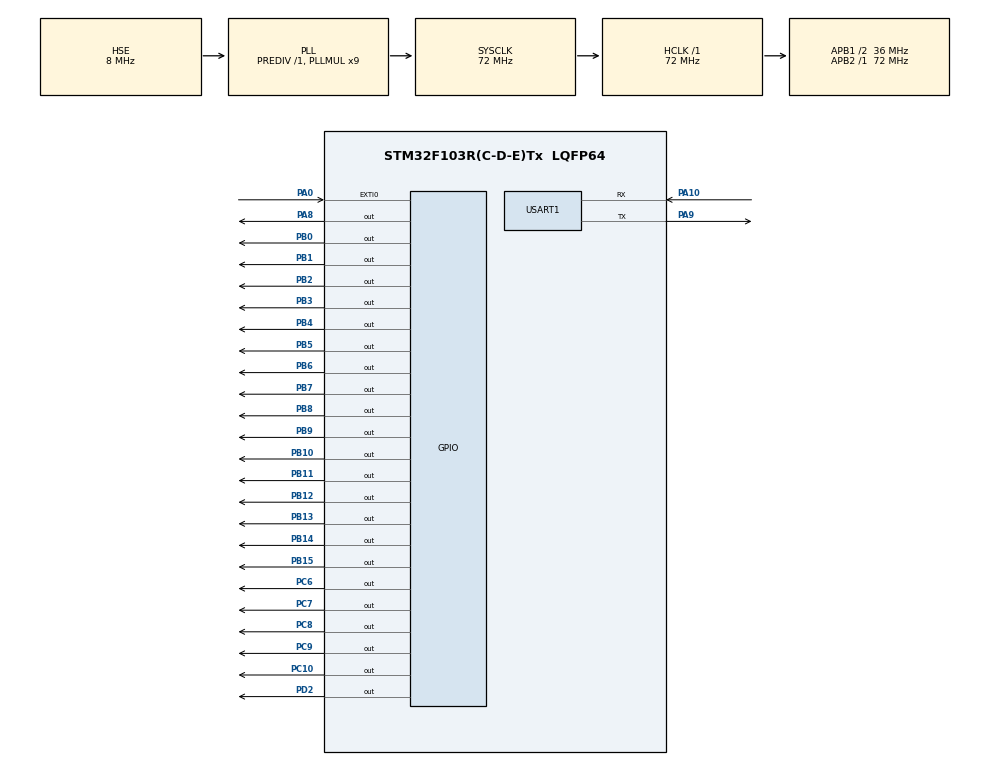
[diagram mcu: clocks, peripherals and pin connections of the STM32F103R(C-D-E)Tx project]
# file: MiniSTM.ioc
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Mcu.Family=STM32F1
Mcu.Name=STM32F103R(C-D-E)Tx
Mcu.Package=LQFP64
NVIC.EXTI0_IRQn=true\:8\:0\:true\:false\:true\:true\:true\:true
NVIC.PriorityGroup=NVIC_PRIORITYGROUP_4
PA0-WKUP.Signal=GPXTI0
PA10.Mode=Asynchronous
PA10.Signal=USART1_RX
PA13.Mode=Serial_Wire
PA13.Signal=SYS_JTMS-SWDIO
PA14.Mode=Serial_Wire
PA14.Signal=SYS_JTCK-SWCLK
PA8.GPIO_PuPd=GPIO_PULLUP
PA8.Signal=GPIO_Output
PA9.Mode=Asynchronous
PA9.Signal=USART1_TX
PB0.GPIO_PuPd=GPIO_PULLUP
PB0.GPIO_Speed=GPIO_SPEED_FREQ_HIGH
PB0.Signal=GPIO_Output
PB1.GPIO_PuPd=GPIO_PULLUP
PB1.GPIO_Speed=GPIO_SPEED_FREQ_HIGH
PB1.Signal=GPIO_Output
PB10.GPIO_PuPd=GPIO_PULLUP
PB10.GPIO_Speed=GPIO_SPEED_FREQ_HIGH
PB10.Signal=GPIO_Output
PB11.GPIO_PuPd=GPIO_PULLUP
PB11.GPIO_Speed=GPIO_SPEED_FREQ_HIGH
PB11.Signal=GPIO_Output
PB12.GPIO_PuPd=GPIO_PULLUP
PB12.GPIO_Speed=GPIO_SPEED_FREQ_HIGH
PB12.Signal=GPIO_Output
PB13.GPIO_PuPd=GPIO_PULLUP
PB13.GPIO_Speed=GPIO_SPEED_FREQ_HIGH
PB13.Signal=GPIO_Output
PB14.GPIO_PuPd=GPIO_PULLUP
PB14.GPIO_Speed=GPIO_SPEED_FREQ_HIGH
PB14.Signal=GPIO_Output
PB15.GPIO_PuPd=GPIO_PULLUP
PB15.GPIO_Speed=GPIO_SPEED_FREQ_HIGH
PB15.Signal=GPIO_Output
PB2.GPIO_PuPd=GPIO_PULLUP
PB2.GPIO_Speed=GPIO_SPEED_FREQ_HIGH
PB2.Signal=GPIO_Output
PB3.GPIO_PuPd=GPIO_PULLUP
PB3.GPIO_Speed=GPIO_SPEED_FREQ_HIGH
PB3.Signal=GPIO_Output
PB4.GPIO_PuPd=GPIO_PULLUP
PB4.GPIO_Speed=GPIO_SPEED_FREQ_HIGH
PB4.Signal=GPIO_Output
PB5.GPIO_PuPd=GPIO_PULLUP
PB5.GPIO_Speed=GPIO_SPEED_FREQ_HIGH
PB5.Signal=GPIO_Output
PB6.GPIO_PuPd=GPIO_PULLUP
PB6.GPIO_Speed=GPIO_SPEED_FREQ_HIGH
PB6.Signal=GPIO_Output
PB7.GPIO_PuPd=GPIO_PULLUP
PB7.GPIO_Speed=GPIO_SPEED_FREQ_HIGH
PB7.Signal=GPIO_Output
PB8.GPIO_PuPd=GPIO_PULLUP
PB8.GPIO_Speed=GPIO_SPEED_FREQ_HIGH
PB8.Signal=GPIO_Output
PB9.GPIO_PuPd=GPIO_PULLUP
PB9.GPIO_Speed=GPIO_SPEED_FREQ_HIGH
PB9.Signal=GPIO_Output
PC10.GPIO_PuPd=GPIO_PULLUP
PC10.GPIO_Speed=GPIO_SPEED_FREQ_HIGH
PC10.Signal=GPIO_Output
PC14-OSC32_IN.Mode=LSE-External-Oscillator
PC14-OSC32_IN.Signal=RCC_OSC32_IN
PC15-OSC32_OUT.Mode=LSE-External-Oscillator
PC15-OSC32_OUT.Signal=RCC_OSC32_OUT
PC6.GPIO_PuPd=GPIO_PULLUP
PC6.GPIO_Speed=GPIO_SPEED_FREQ_HIGH
PC6.Signal=GPIO_Output
PC7.GPIO_PuPd=GPIO_PULLUP
PC7.GPIO_Speed=GPIO_SPEED_FREQ_HIGH
PC7.Signal=GPIO_Output
PC8.GPIO_PuPd=GPIO_PULLUP
PC8.GPIO_Speed=GPIO_SPEED_FREQ_HIGH
PC8.Signal=GPIO_Output
PC9.GPIO_PuPd=GPIO_PULLUP
PC9.GPIO_Speed=GPIO_SPEED_FREQ_HIGH
PC9.Signal=GPIO_Output
PD0-OSC_IN.Mode=HSE-External-Oscillator
PD0-OSC_IN.Signal=RCC_OSC_IN
PD1-OSC_OUT.Mode=HSE-External-Oscillator
PD1-OSC_OUT.Signal=RCC_OSC_OUT
PD2.GPIO_PuPd=GPIO_PULLUP
PD2.PinState=GPIO_PIN_SET
PD2.Signal=GPIO_Output
ProjectManager.HeapSize=0x200
ProjectManager.StackSize=0x400
ProjectManager.TargetToolchain=MDK-ARM V5.32
RCC.AHBFreq_Value=72000000
RCC.APB1CLKDivider=RCC_HCLK_DIV2
RCC.APB1Freq_Value=36000000
RCC.APB1TimFreq_Value=72000000
RCC.APB2Freq_Value=72000000
RCC.APB2TimFreq_Value=72000000
RCC.HCLKFreq_Value=72000000
RCC.PLLMUL=RCC_PLL_MUL9
RCC.PLLSourceVirtual=RCC_PLLSOURCE_HSE
RCC.SYSCLKFreq_VALUE=72000000
RCC.SYSCLKSource=RCC_SYSCLKSOURCE_PLLCLK
RCC.USBFreq_Value=72000000
TIM4.AutoReloadPreload=TIM_AUTORELOAD_PRELOAD_DISABLE
TIM4.Channel-Output\ Compare1\ No\ Output=TIM_CHANNEL_1
TIM4.Period=1000
TIM4.Prescaler=8399
USART1.VirtualMode=VM_ASYNC
VP_TIM4_VS_ClockSourceITR.Mode=TriggerSource_ITR0
board=custom

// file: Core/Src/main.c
/* USER CODE BEGIN Header */
/**
 ******************************************************************************
 * @file           : main.c
 * @brief          : Main program body
 ******************************************************************************
 * @attention
 *
 * Copyright (c) 2022 STMicroelectronics.
 * All rights reserved.
 *
 * This software is licensed under terms that can be found in the LICENSE file
 * in the root directory of this software component.
 * If no LICENSE file comes with this software, it is provided AS-IS.
 *
 ******************************************************************************
 */
/* USER CODE END Header */
#include "main.h"
#include "tim.h"
#include "usart.h"
#include "gpio.h"

/* USER CODE BEGIN Includes */
#include "led.h"
#include "lcd.h"
#include "uart.h"
#include "usmart.h"
#include "wkup.h"
/* USER CODE END Includes */

void SystemClock_Config(void);

int main(void)
{

  /* MCU Configuration--------------------------------------------------------*/

  /* Reset of all peripherals, Initializes the Flash interface and the Systick. */
  HAL_Init();

  /* Configure the system clock */
  SystemClock_Config();

  /* Initialize all configured peripherals */
  MX_GPIO_Init();
  MX_USART1_UART_Init();
  MX_TIM4_Init();
  /* USER CODE BEGIN 2 */
	LCD_Init();
	WKUP_Init();

  HAL_NVIC_EnableIRQ(TIM4_IRQn);
	HAL_NVIC_SetPriority(TIM4_IRQn,9,0);
	HAL_TIM_Base_Start_IT(&htim4);

	HAL_NVIC_EnableIRQ(USART1_IRQn);
	HAL_NVIC_SetPriority(USART1_IRQn,9,0);
	HAL_UART_Receive_IT(&huart1, (uint8_t *)aRxBuffer, RXBUFFERSIZE);

	POINT_COLOR=RED;
	LCD_ShowString(30,50,200,16,16,"Mini STM32");
	LCD_ShowString(30,70,200,16,16,"WKUP TEST");
	LCD_ShowString(30,90,200,16,16,"ATOM@ALIENTEK");
	LCD_ShowString(30,110,200,16,16,"2019/11/15");
  /* USER CODE END 2 */

  /* Infinite loop */
  /* USER CODE BEGIN WHILE */
	while (1)
	{
		LED0 = !LED0;
		HAL_Delay(250);
    /* USER CODE END WHILE */

	}
}

void SystemClock_Config(void)
{
  RCC_OscInitTypeDef RCC_OscInitStruct = {0};
  RCC_ClkInitTypeDef RCC_ClkInitStruct = {0};

  /** Initializes the RCC Oscillators according to the specified parameters
  * in the RCC_OscInitTypeDef structure.
  */
  RCC_OscInitStruct.OscillatorType = RCC_OSCILLATORTYPE_HSE;
  RCC_OscInitStruct.HSEState = RCC_HSE_ON;
  RCC_OscInitStruct.HSEPredivValue = RCC_HSE_PREDIV_DIV1;
  RCC_OscInitStruct.HSIState = RCC_HSI_ON;
  RCC_OscInitStruct.PLL.PLLState = RCC_PLL_ON;
  RCC_OscInitStruct.PLL.PLLSource = RCC_PLLSOURCE_HSE;
  RCC_OscInitStruct.PLL.PLLMUL = RCC_PLL_MUL9;
  if (HAL_RCC_OscConfig(&RCC_OscInitStruct) != HAL_OK)
  {
    Error_Handler();
  }

  /** Initializes the CPU, AHB and APB buses clocks
  */
  RCC_ClkInitStruct.ClockType = RCC_CLOCKTYPE_HCLK|RCC_CLOCKTYPE_SYSCLK
                              |RCC_CLOCKTYPE_PCLK1|RCC_CLOCKTYPE_PCLK2;
  RCC_ClkInitStruct.SYSCLKSource = RCC_SYSCLKSOURCE_PLLCLK;
  RCC_ClkInitStruct.AHBCLKDivider = RCC_SYSCLK_DIV1;
  RCC_ClkInitStruct.APB1CLKDivider = RCC_HCLK_DIV2;
  RCC_ClkInitStruct.APB2CLKDivider = RCC_HCLK_DIV1;

  if (HAL_RCC_ClockConfig(&RCC_ClkInitStruct, FLASH_LATENCY_2) != HAL_OK)
  {
    Error_Handler();
  }
}

void Error_Handler(void)
{
	__disable_irq();
	while (1)
	{
	}
}
